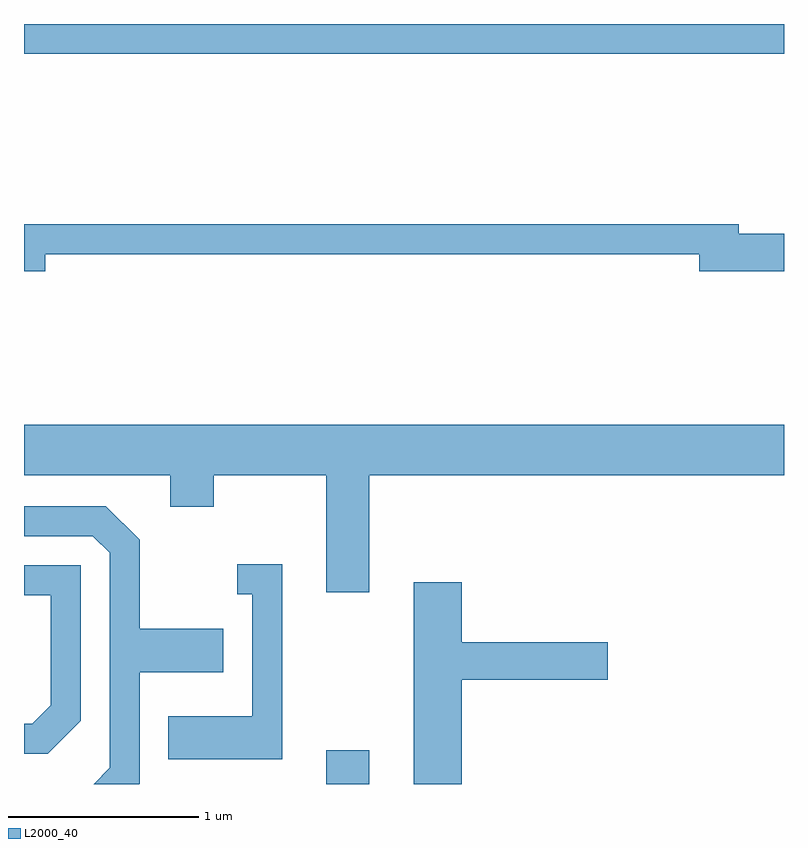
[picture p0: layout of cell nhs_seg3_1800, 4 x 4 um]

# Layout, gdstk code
import gdstk
lib = gdstk.Library(unit=1e-6, precision=1e-09)
def R(c, l, rs):  # rectangles x0, y0, x1, y1
    for r in rs: c.add(gdstk.rectangle(r[:2], r[2:], *l))
def P(c, l, *ps):  # polygons
    for p in ps: c.add(gdstk.Polygon(p, *l))
L2000_40 = (2000, 40)

nhs_seg3_1800 = lib.new_cell('nhs_seg3_1800')
R(nhs_seg3_1800, L2000_40, [(239.201,1179.892,239.429,1180.069), (237.611,1183.736,241.611,1183.892)])
P(nhs_seg3_1800, L2000_40, [(237.724,1182.681),(241.166,1182.681),(241.166,1182.591),(241.611,1182.591),(241.611,1182.789),(241.374,1182.789),(241.374,1182.839),(237.611,1182.839),(237.611,1182.591),(237.724,1182.591)],
  [(239.429,1181.516),(241.611,1181.516),(241.611,1181.784),(237.611,1181.784),(237.611,1181.516),(238.381,1181.516),(238.381,1181.351),(238.609,1181.351),(238.609,1181.516),(239.201,1181.516),(239.201,1180.901),(239.429,1180.901)],
  [(238.219,1179.894),(238.219,1180.481),(238.659,1180.481),(238.659,1180.709),(238.219,1180.709),(238.219,1181.177),(238.042,1181.354),(237.611,1181.354),(237.611,1181.196),(237.974,1181.196),(238.061,1181.109),(238.061,1179.977),(237.977,1179.892),(238.217,1179.892)],
  [(238.969,1181.049),(238.733,1181.049),(238.733,1180.891),(238.811,1180.891),(238.811,1180.249),(238.371,1180.249),(238.371,1180.021),(238.969,1180.021)],
  [(237.909,1180.224),(237.909,1181.044),(237.611,1181.044),(237.611,1180.886),(237.751,1180.886),(237.751,1180.307),(237.654,1180.209),(237.611,1180.209),(237.611,1180.051),(237.737,1180.051)],
  [(239.914,1180.441),(240.684,1180.441),(240.684,1180.639),(239.914,1180.639),(239.914,1180.954),(239.661,1180.954),(239.661,1179.892),(239.914,1179.892)])

lib.write_gds('nhs_seg3_1800.gds')
